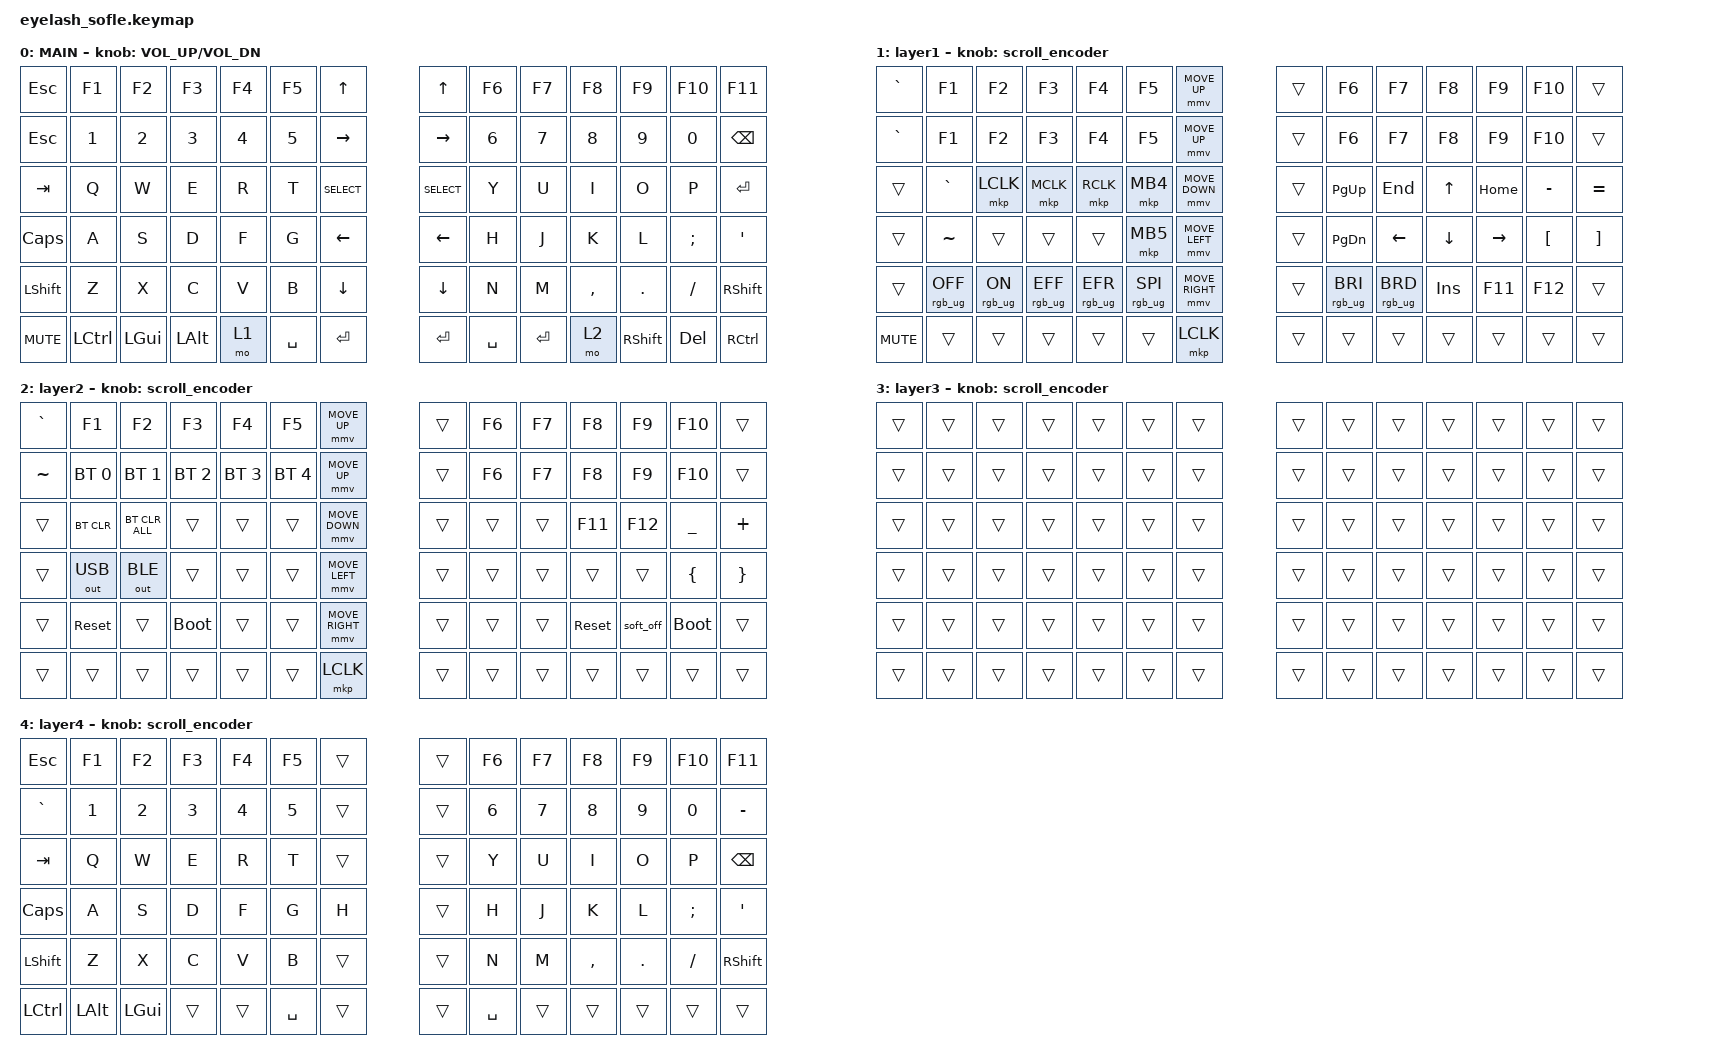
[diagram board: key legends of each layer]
#define ZMK_POINTING_DEFAULT_MOVE_VAL 1200  // 600
#define ZMK_POINTING_DEFAULT_SCRL_VAL 25   // 10

#include <input/processors.dtsi>
#include <zephyr/dt-bindings/input/input-event-codes.h>
#include <behaviors.dtsi>
#include <dt-bindings/zmk/bt.h>
#include <dt-bindings/zmk/keys.h>
#include <dt-bindings/zmk/outputs.h>
#include <dt-bindings/zmk/pointing.h>
#include <dt-bindings/zmk/rgb.h>

&mmv_input_listener { input-processors = <&zip_xy_scaler 2 1>; };

&msc_input_listener { input-processors = <&zip_scroll_scaler 2 1>; };

&msc {
    acceleration-exponent = <1>;      // 0
    time-to-max-speed-ms = <100>;       // 300
    delay-ms = <0>;                   // 0
};

&mmv {
    time-to-max-speed-ms = <500>;
    acceleration-exponent = <1>;
    trigger-period-ms = <16>;
};

/ {
    scroll_encoder: scroll_encoder {
        compatible = "zmk,behavior-sensor-rotate";
        #sensor-binding-cells = <0>;
        bindings = <&msc SCRL_DOWN>, <&msc SCRL_UP>;

        tap-ms = <100>;
    };

    behaviors {
    };

    macros {
        copy: copu {
            compatible = "zmk,behavior-macro";
            #binding-cells = <0>;
            bindings = <&kp LC(C)>, <&macro_press>;

            label = "COPU";
        };
    };

    keymap {
        compatible = "zmk,keymap";

        layer0 {
            bindings = <
&kp ESC     &kp F1     &kp F2        &kp F3        &kp F4  &kp F5     &kp UP_ARROW     &kp UP_ARROW     &kp F6     &kp F7     &kp F8     &kp F9           &kp F10     &kp F11
&kp ESC     &kp N1     &kp N2        &kp N3        &kp N4  &kp N5     &kp RIGHT_ARROW  &kp RIGHT_ARROW  &kp N6     &kp N7     &kp N8     &kp N9           &kp N0      &kp BACKSPACE
&kp TAB     &kp Q      &kp W         &kp E         &kp R   &kp T      &kp K_SELECT     &kp K_SELECT     &kp Y      &kp U      &kp I      &kp O            &kp P       &kp ENTER
&kp CAPS    &kp A      &kp S         &kp D         &kp F   &kp G      &kp LEFT_ARROW   &kp LEFT_ARROW   &kp H      &kp J      &kp K      &kp L            &kp SEMI    &kp APOS
&kp LSHFT   &kp Z      &kp X         &kp C         &kp V   &kp B      &kp DOWN_ARROW   &kp DOWN_ARROW   &kp N      &kp M      &kp COMMA  &kp DOT          &kp FSLH    &kp RIGHT_SHIFT
&kp C_MUTE  &kp LCTRL  &kp LEFT_GUI  &kp LEFT_ALT  &mo 1   &kp SPACE  &kp ENTER        &kp ENTER        &kp SPACE  &kp ENTER  &mo 2      &kp RIGHT_SHIFT  &kp DELETE  &kp RCTRL
            >;

            sensor-bindings = <&inc_dec_kp C_VOLUME_UP C_VOL_DN>;
            display-name = "MAIN";
        };

        layer_1 {
            bindings = <
&kp GRAVE   &kp F1           &kp F2          &kp F3           &kp F4           &kp F5           &mmv MOVE_UP     &trans  &kp F6           &kp F7           &kp F8      &kp F9     &kp F10           &trans
&kp GRAVE   &kp F1           &kp F2          &kp F3           &kp F4           &kp F5           &mmv MOVE_UP     &trans  &kp F6           &kp F7           &kp F8      &kp F9     &kp F10           &trans
&trans      &kp GRAVE        &mkp LCLK       &mkp MCLK        &mkp RCLK        &mkp MB4         &mmv MOVE_DOWN   &trans  &kp PG_UP        &kp END          &kp UP      &kp HOME   &kp MINUS         &kp EQUAL
&trans      &kp TILDE        &trans          &trans           &trans           &mkp MB5         &mmv MOVE_LEFT   &trans  &kp PG_DN        &kp LEFT         &kp DOWN    &kp RIGHT  &kp LEFT_BRACKET  &kp RIGHT_BRACKET
&trans      &rgb_ug RGB_OFF  &rgb_ug RGB_ON  &rgb_ug RGB_EFF  &rgb_ug RGB_EFR  &rgb_ug RGB_SPI  &mmv MOVE_RIGHT  &trans  &rgb_ug RGB_BRI  &rgb_ug RGB_BRD  &kp INSERT  &kp F11    &kp F12           &trans
&kp C_MUTE  &trans           &trans          &trans           &trans           &trans           &mkp LCLK        &trans  &trans           &trans           &trans      &trans     &trans            &trans
            >;

            display-name = "layer1";
            sensor-bindings = <&scroll_encoder>;
        };

        layer_2 {
            bindings = <
&kp GRAVE  &kp F1        &kp F2          &kp F3        &kp F4        &kp F5        &mmv MOVE_UP     &trans  &kp F6  &kp F7  &kp F8      &kp F9     &kp F10      &trans
&kp TILDE  &bt BT_SEL 0  &bt BT_SEL 1    &bt BT_SEL 2  &bt BT_SEL 3  &bt BT_SEL 4  &mmv MOVE_UP     &trans  &kp F6  &kp F7  &kp F8      &kp F9     &kp F10      &trans
&trans     &bt BT_CLR    &bt BT_CLR_ALL  &trans        &trans        &trans        &mmv MOVE_DOWN   &trans  &trans  &trans  &kp F11     &kp F12    &kp UNDER    &kp PLUS
&trans     &out OUT_USB  &out OUT_BLE    &trans        &trans        &trans        &mmv MOVE_LEFT   &trans  &trans  &trans  &trans      &trans     &kp LBRC     &kp RBRC
&trans     &sys_reset    &trans          &bootloader   &trans        &trans        &mmv MOVE_RIGHT  &trans  &trans  &trans  &sys_reset  &soft_off  &bootloader  &trans
&trans     &trans        &trans          &trans        &trans        &trans        &mkp LCLK        &trans  &trans  &trans  &trans      &trans     &trans       &trans
            >;
            display-name = "layer2";
            sensor-bindings = <&scroll_encoder>;
        };

        layer_3 {
            bindings = <
&trans  &trans  &trans  &trans  &trans  &trans  &trans  &trans  &trans  &trans  &trans  &trans  &trans  &trans
&trans  &trans  &trans  &trans  &trans  &trans  &trans  &trans  &trans  &trans  &trans  &trans  &trans  &trans
&trans  &trans  &trans  &trans  &trans  &trans  &trans  &trans  &trans  &trans  &trans  &trans  &trans  &trans
&trans  &trans  &trans  &trans  &trans  &trans  &trans  &trans  &trans  &trans  &trans  &trans  &trans  &trans
&trans  &trans  &trans  &trans  &trans  &trans  &trans  &trans  &trans  &trans  &trans  &trans  &trans  &trans
&trans  &trans  &trans  &trans  &trans  &trans  &trans  &trans  &trans  &trans  &trans  &trans  &trans  &trans
            >;
            display-name = "layer3";
            sensor-bindings = <&scroll_encoder>;
        };

        layer_4 {
            bindings = <
&kp ESC    &kp F1    &kp F2    &kp F3  &kp F4  &kp F5     &trans  &trans  &kp F6     &kp F7  &kp F8     &kp F9   &kp F10   &kp F11
&kp GRAVE  &kp N1    &kp N2    &kp N3  &kp N4  &kp N5     &trans  &trans  &kp N6     &kp N7  &kp N8     &kp N9   &kp N0    &kp MINUS
&kp TAB    &kp Q     &kp W     &kp E   &kp R   &kp T      &trans  &trans  &kp Y      &kp U   &kp I      &kp O    &kp P     &kp BSPC
&kp CAPS   &kp A     &kp S     &kp D   &kp F   &kp G      &kp H   &trans  &kp H      &kp J   &kp K      &kp L    &kp SEMI  &kp APOS
&kp LSHFT  &kp Z     &kp X     &kp C   &kp V   &kp B      &trans  &trans  &kp N      &kp M   &kp COMMA  &kp DOT  &kp FSLH  &kp RSHFT
&kp LCTRL  &kp LALT  &kp LGUI  &trans  &trans  &kp SPACE  &trans  &trans  &kp SPACE  &trans  &trans     &trans   &trans    &trans
            >;
            display-name = "layer4";
            sensor-bindings = <&scroll_encoder>;
        };
    };
};
